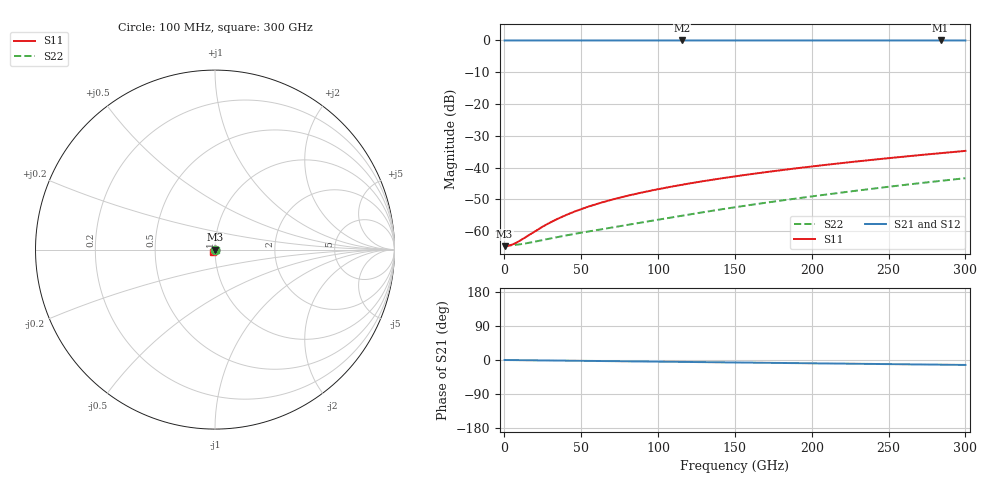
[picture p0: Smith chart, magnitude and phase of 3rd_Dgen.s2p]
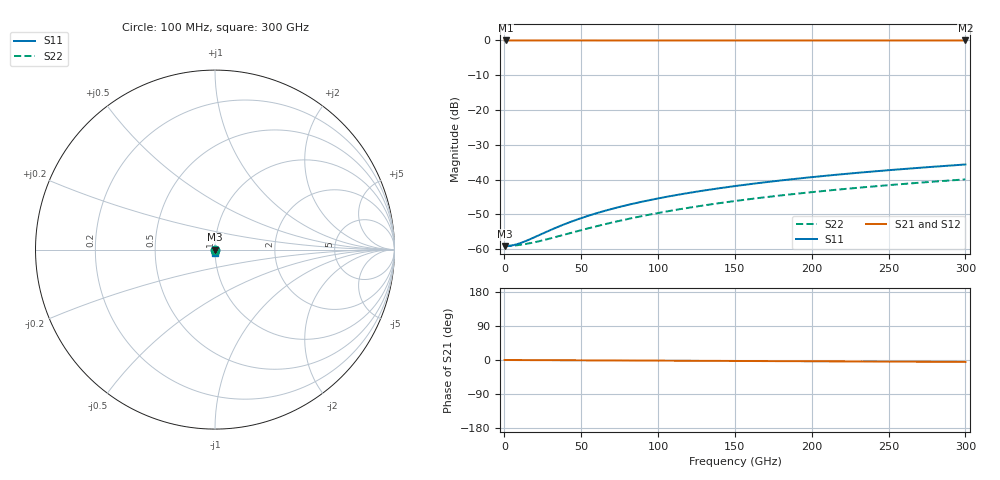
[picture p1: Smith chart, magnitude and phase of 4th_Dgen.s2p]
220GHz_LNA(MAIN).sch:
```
<Qucs Schematic 25.1.2>
<Properties>
  <View=94,-785,3069,888,0.533493,0,1>
  <Grid=10,10,1>
  <DataSet=220GHz_LNA(MAIN).dat>
  <DataDisplay=220GHz_LNA(MAIN).dpl>
  <OpenDisplay=0>
  <Script=Bandwidth extension.m>
  <RunScript=0>
  <showFrame=0>
  <FrameText0=Title>
  <FrameText1=Drawn By:>
  <FrameText2=Date:>
  <FrameText3=Revision:>
</Properties>
<Symbol>
</Symbol>
<Components>
  <GND * 1 2260 180 0 0 0 0>
  <GND * 1 2290 -300 0 0 0 0>
  <GND * 1 2290 140 0 0 0 0>
  <Lib npn13G8 1 2260 -80 10 64 0 0 "C:/Users/nsl/QucsWorkspace/user_lib/IHP_PDK_nonlinear_components" 0 "npn13G2" 0 "2" 1>
  <Lib rsil8 1 2260 -230 50 -26 0 0 "C:/Users/nsl/QucsWorkspace/user_lib/IHP_PDK_basic_components" 0 "rsil" 0 "7.5u" 1 "5.5u" 1 "1" 1>
  <GND * 1 2360 -290 0 0 0 0>
  <Vdc V7 1 2360 -350 18 -26 0 1 "1.35V" 1>
  <GND * 1 2050 -260 0 0 0 0>
  <Vdc V8 1 2050 -290 18 -26 0 1 "0.93V" 1>
  <GND * 1 2100 -30 0 0 0 0>
  <Lib cap_rfcmim15 1 2030 -90 -16 -98 0 1 "C:/Users/nsl/QucsWorkspace/user_lib/IHP_PDK_basic_components" 0 "cap_rfcmim" 0 "5.1u" 1 "2.4u" 1>
  <GND * 1 2430 -100 0 0 0 0>
  <Lib cap_rfcmim16 1 2390 -150 -16 -98 0 1 "C:/Users/nsl/QucsWorkspace/user_lib/IHP_PDK_basic_components" 0 "cap_rfcmim" 0 "32u" 1 "6.2u" 1>
  <GND * 1 2440 60 0 0 0 0>
  <GND * 1 2470 110 0 0 0 0>
  <GND * 1 2560 -100 0 0 0 0>
  <Lib cap_rfcmim17 1 2510 -150 -16 -98 0 1 "C:/Users/nsl/QucsWorkspace/user_lib/IHP_PDK_basic_components" 0 "cap_rfcmim" 0 "3.2u" 1 "2.4u" 1>
  <GND * 1 2660 100 0 0 0 0>
  <Pac P2 1 2660 30 18 -26 0 1 "2" 1 "50 Ohm" 1 "0 dBm" 0 "1 MHz" 0 "26.85" 0 "true" 0>
  <GND * 1 1790 240 0 0 0 0>
  <GND * 1 1820 -220 0 0 0 0>
  <GND * 1 1820 200 0 0 0 0>
  <Lib npn13G7 1 1790 -20 10 64 0 0 "C:/Users/nsl/QucsWorkspace/user_lib/IHP_PDK_nonlinear_components" 0 "npn13G2" 0 "2" 1>
  <Lib rsil7 1 1790 -150 50 -26 0 0 "C:/Users/nsl/QucsWorkspace/user_lib/IHP_PDK_basic_components" 0 "rsil" 0 "7.5u" 1 "5u" 1 "1" 1>
  <GND * 1 1890 -240 0 0 0 0>
  <Vdc V5 1 1890 -300 18 -26 0 1 "1.35V" 1>
  <GND * 1 1610 -150 0 0 0 0>
  <Vdc V6 1 1610 -180 18 -26 0 1 "0.9V" 1>
  <GND * 1 1620 30 0 0 0 0>
  <Lib cap_rfcmim13 1 1550 -30 -16 -98 0 1 "C:/Users/nsl/QucsWorkspace/user_lib/IHP_PDK_basic_components" 0 "cap_rfcmim" 0 "7.6u" 1 "2.5u" 1>
  <GND * 1 1950 -40 0 0 0 0>
  <Lib cap_rfcmim14 1 1910 -90 -16 -98 0 1 "C:/Users/nsl/QucsWorkspace/user_lib/IHP_PDK_basic_components" 0 "cap_rfcmim" 0 "32u" 1 "12.5u" 1>
  <GND * 1 1990 130 0 0 0 0>
  <GND * 1 1960 90 0 0 0 0>
  <GND * 1 1270 300 0 0 0 0>
  <GND * 1 1300 -190 0 0 0 0>
  <GND * 1 1300 260 0 0 0 0>
  <Lib npn13G6 1 1270 40 10 64 0 0 "C:/Users/nsl/QucsWorkspace/user_lib/IHP_PDK_nonlinear_components" 0 "npn13G2" 0 "4" 1>
  <Lib rsil6 1 1270 -120 50 -26 0 0 "C:/Users/nsl/QucsWorkspace/user_lib/IHP_PDK_basic_components" 0 "rsil" 0 "7.5u" 1 "5u" 1 "1" 1>
  <GND * 1 1350 -170 0 0 0 0>
  <Vdc V3 1 1350 -230 18 -26 0 1 "1.35V" 1>
  <GND * 1 1130 90 0 0 0 0>
  <Lib cap_rfcmim11 1 1060 30 -16 -98 0 1 "C:/Users/nsl/QucsWorkspace/user_lib/IHP_PDK_basic_components" 0 "cap_rfcmim" 0 "5.2u" 1 "2.4u" 1>
  <GND * 1 1440 20 0 0 0 0>
  <Lib cap_rfcmim12 1 1400 -30 -16 -98 0 1 "C:/Users/nsl/QucsWorkspace/user_lib/IHP_PDK_basic_components" 0 "cap_rfcmim" 0 "32u" 1 "3.72u" 1>
  <GND * 1 1480 170 0 0 0 0>
  <GND * 1 1450 110 0 0 0 0>
  <GND * 1 940 80 0 0 0 0>
  <GND * 1 750 360 0 0 0 0>
  <GND * 1 780 -140 0 0 0 0>
  <Lib npn13G5 1 750 100 10 64 0 0 "C:/Users/nsl/QucsWorkspace/user_lib/IHP_PDK_nonlinear_components" 0 "npn13G2" 0 "4" 1>
  <Lib cap_rfcmim10 1 900 30 -16 -98 0 1 "C:/Users/nsl/QucsWorkspace/user_lib/IHP_PDK_basic_components" 0 "cap_rfcmim" 0 "32u" 1 "3.72u" 1>
  <Lib rsil5 1 750 -40 50 -26 0 0 "C:/Users/nsl/QucsWorkspace/user_lib/IHP_PDK_basic_components" 0 "rsil" 0 "7.5u" 1 "5u" 1 "1" 1>
  <GND * 1 830 -120 0 0 0 0>
  <Vdc V1 1 830 -180 18 -26 0 1 "1.35V" 1>
  <GND * 1 720 330 0 0 0 0>
  <GND * 1 440 250 0 0 0 0>
  <Pac P1 1 440 200 18 -26 0 1 "1" 1 "50 Ohm" 1 "0 dBm" 0 "1 MHz" 0 "26.85" 0 "true" 0>
  <GND * 1 550 150 0 0 0 0>
  <Lib cap_rfcmim9 1 520 90 -16 -98 0 1 "C:/Users/nsl/QucsWorkspace/user_lib/IHP_PDK_basic_components" 0 "cap_rfcmim" 0 "10u" 1 "15u" 1>
  <GND * 1 990 200 0 0 0 0>
  <GND * 1 960 160 0 0 0 0>
  <.DC DC1 1 480 610 0 40 0 0 "26.85" 0 "0.001" 0 "1 pA" 0 "1 uV" 0 "no" 0 "150" 0 "no" 0 "none" 0 "CroutLU" 0>
  <GND * 1 540 -280 0 0 0 2>
  <Lib cap_cmim8 1 540 -260 -84 -27 0 2 "C:/Users/nsl/QucsWorkspace/user_lib/IHP_PDK_basic_components" 0 "cap_cmim" 0 "25u" 1 "20u" 1>
  <GND * 1 540 -100 0 0 0 0>
  <Vdc V2 1 540 -130 18 -26 0 1 "0.9V" 1>
  <Lib cap_cmim9 1 650 -260 -84 -27 0 2 "C:/Users/nsl/QucsWorkspace/user_lib/IHP_PDK_basic_components" 0 "cap_cmim" 0 "25u" 1 "20u" 1>
  <GND * 1 650 -280 0 0 0 2>
  <Lib cap_cmim11 1 920 -210 -38 -90 0 1 "C:/Users/nsl/QucsWorkspace/user_lib/IHP_PDK_basic_components" 0 "cap_cmim" 0 "25u" 1 "20u" 1>
  <Lib cap_cmim10 1 910 -300 -38 -90 0 1 "C:/Users/nsl/QucsWorkspace/user_lib/IHP_PDK_basic_components" 0 "cap_cmim" 0 "25u" 1 "20u" 1>
  <GND * 1 930 -300 0 0 0 1>
  <GND * 1 950 -210 0 0 0 1>
  <GND * 1 1100 -370 0 0 0 2>
  <Lib cap_cmim12 1 1100 -350 -84 -27 0 2 "C:/Users/nsl/QucsWorkspace/user_lib/IHP_PDK_basic_components" 0 "cap_cmim" 0 "25u" 1 "20u" 1>
  <Lib cap_cmim13 1 1210 -350 -84 -27 0 2 "C:/Users/nsl/QucsWorkspace/user_lib/IHP_PDK_basic_components" 0 "cap_cmim" 0 "25u" 1 "20u" 1>
  <GND * 1 1210 -370 0 0 0 2>
  <GND * 1 1100 -160 0 0 0 0>
  <Vdc V4 1 1100 -190 18 -26 0 1 "0.9V" 1>
  <Lib cap_cmim14 1 1440 -260 -38 -90 0 1 "C:/Users/nsl/QucsWorkspace/user_lib/IHP_PDK_basic_components" 0 "cap_cmim" 0 "25u" 1 "20u" 1>
  <Lib cap_cmim15 1 1430 -350 -38 -90 0 1 "C:/Users/nsl/QucsWorkspace/user_lib/IHP_PDK_basic_components" 0 "cap_cmim" 0 "25u" 1 "20u" 1>
  <GND * 1 1450 -350 0 0 0 1>
  <GND * 1 1470 -260 0 0 0 1>
  <GND * 1 1610 -380 0 0 0 2>
  <Lib cap_cmim16 1 1610 -360 -84 -27 0 2 "C:/Users/nsl/QucsWorkspace/user_lib/IHP_PDK_basic_components" 0 "cap_cmim" 0 "25u" 1 "20u" 1>
  <Lib cap_cmim17 1 1720 -360 -84 -27 0 2 "C:/Users/nsl/QucsWorkspace/user_lib/IHP_PDK_basic_components" 0 "cap_cmim" 0 "25u" 1 "20u" 1>
  <GND * 1 1720 -380 0 0 0 2>
  <Lib cap_cmim18 1 1980 -330 -38 -90 0 1 "C:/Users/nsl/QucsWorkspace/user_lib/IHP_PDK_basic_components" 0 "cap_cmim" 0 "25u" 1 "20u" 1>
  <Lib cap_cmim19 1 1970 -420 -38 -90 0 1 "C:/Users/nsl/QucsWorkspace/user_lib/IHP_PDK_basic_components" 0 "cap_cmim" 0 "25u" 1 "20u" 1>
  <GND * 1 1990 -420 0 0 0 1>
  <GND * 1 2010 -330 0 0 0 1>
  <GND * 1 2060 -470 0 0 0 2>
  <Lib cap_cmim20 1 2060 -450 -84 -27 0 2 "C:/Users/nsl/QucsWorkspace/user_lib/IHP_PDK_basic_components" 0 "cap_cmim" 0 "25u" 1 "20u" 1>
  <Lib cap_cmim21 1 2170 -450 -84 -27 0 2 "C:/Users/nsl/QucsWorkspace/user_lib/IHP_PDK_basic_components" 0 "cap_cmim" 0 "25u" 1 "20u" 1>
  <GND * 1 2170 -470 0 0 0 2>
  <Lib cap_cmim22 1 2450 -380 -38 -90 0 1 "C:/Users/nsl/QucsWorkspace/user_lib/IHP_PDK_basic_components" 0 "cap_cmim" 0 "25u" 1 "20u" 1>
  <Lib cap_cmim23 1 2440 -470 -38 -90 0 1 "C:/Users/nsl/QucsWorkspace/user_lib/IHP_PDK_basic_components" 0 "cap_cmim" 0 "25u" 1 "20u" 1>
  <GND * 1 2460 -470 0 0 0 1>
  <GND * 1 2480 -380 0 0 0 1>
  <INCLSCR INCLSCR2 1 620 -730 -60 16 0 0 ".LIB C:\Users\nsl\QucsWorkspace\IHP-Open-PDK\ihp-sg13g2\libs.tech\ngspice\models\cornerHBT.lib hbt_typ\n.LIB C:\Users\nsl\QucsWorkspace\IHP-Open-PDK\ihp-sg13g2\libs.tech\ngspice\models\cornerRES.lib res_typ\n.LIB C:\Users\nsl\QucsWorkspace\IHP-Open-PDK\ihp-sg13g2\libs.tech\ngspice\models\cornerCAP.lib cap_typ\n.control\npre_osdi C:\Users\nsl\QucsWorkspace\IHP-Open-PDK\ihp-sg13g2\libs.tech\verilog-a\r3_cmc\r3_cmc.osdi\n.endc" 1 "" 0 "" 0>
  <.SP SP1 1 770 600 0 68 0 0 "lin" 1 "140 GHz" 1 "190 GHz" 1 "101" 1 "yes" 0 "1" 0 "2" 0 "no" 0 "no" 0>
  <NutmegEq NutmegEq3 1 1050 610 -31 16 0 0 "SP1" 1 "num=(1/4)*(abs(v(y_2_1)-v(y_1_2))*abs(v(y_2_1)-v(y_1_2)))" 1 "den=real(v(y_1_1))*real(v(y_2_2))-real(v(y_2_1))*real(v(y_1_2))" 1 "Gmax=num/den" 1 "Fmax=sqrt(mag(Gmax))*frequency" 1>
  <NutmegEq NutmegEq2 1 1410 590 -31 16 0 0 "SP1" 1 "s11_db=db(v(s_1_1))" 1 "s12_db=db(v(s_1_2))" 1 "s21_db=db(v(s_2_1))" 1 "s22_db=db(v(s_2_2))" 1 "s11_mag=mag(v(s_1_1))" 1 "s11_conj=conj(v(s_1_1))" 1 "s12_mag=mag(v(s_1_2))" 1 "s21_mag=mag(v(s_2_1))" 1 "s22_mag=mag(v(s_2_2))" 1 "delta=v(s_1_1)*v(s_2_2)-v(s_1_2)*v(s_2_2)" 1 "delta_mag=mag(delta)" 1 "kf=(1-s11_mag*s11_mag-s22_mag*s22_mag+delta_mag*delta_mag)/(2*s12_mag*s21_mag)" 1 "mu=(1-s11_mag*s11_mag)/(mag(v(s_2_2)-delta*s11_conj)+s12_mag*s21_mag)" 1>
  <Lib rhigh9 1 670 -10 -88 -26 0 2 "C:/Users/nsl/QucsWorkspace/user_lib/IHP_PDK_basic_components" 0 "rhigh" 0 "1.9u" 1 "7u" 1 "1" 1>
  <Lib rhigh10 1 1220 -30 -88 -26 0 2 "C:/Users/nsl/QucsWorkspace/user_lib/IHP_PDK_basic_components" 0 "rhigh" 0 "1.9u" 1 "5.5u" 1 "1" 1>
  <Lib rhigh11 1 1720 -90 -88 -26 0 2 "C:/Users/nsl/QucsWorkspace/user_lib/IHP_PDK_basic_components" 0 "rhigh" 0 "1.9u" 1 "5.5u" 1 "1" 1>
  <Lib rhigh12 1 2180 -190 -79 -26 0 2 "C:/Users/nsl/QucsWorkspace/user_lib/IHP_PDK_basic_components" 0 "rhigh" 0 "2u" 1 "5.5u" 1 "1" 1>
  <SPfile X1 1 750 -170 -165 -26 0 1 "C:/220_S2P_files/Choke.s2p" 1 "rectangular" 0 "linear" 0 "open" 0 "2" 0>
  <SPfile X2 1 1270 -220 -165 -26 0 1 "C:/220_S2P_files/Choke.s2p" 1 "rectangular" 0 "linear" 0 "open" 0 "2" 0>
  <SPfile X3 1 1790 -250 -165 -26 0 1 "C:/220_S2P_files/Choke.s2p" 1 "rectangular" 0 "linear" 0 "open" 0 "2" 0>
  <SPfile X4 1 2260 -330 -165 -26 0 1 "C:/220_S2P_files/Choke.s2p" 1 "rectangular" 0 "linear" 0 "open" 0 "2" 0>
  <SPfile X14 1 750 310 21 -26 0 3 "C:/220_S2P_files/1st_Dgen.s2p" 1 "rectangular" 0 "linear" 0 "open" 0 "2" 0>
  <SPfile X10 1 1270 250 -158 -26 0 1 "C:/220_S2P_files/2nd_Dgen.s2p" 1 "rectangular" 0 "linear" 0 "open" 0 "2" 0>
  <SPfile X11 1 1790 190 -158 -26 0 1 "C:/220_S2P_files/3rd_Dgen.s2p" 1 "rectangular" 0 "linear" 0 "open" 0 "2" 0>
  <SPfile X12 1 2260 130 -219 -26 0 1 "C:/220_S2P_files/4th_Dgen.s2p" 1 "rectangular" 0 "linear" 0 "open" 0 "2" 0>
  <SPfile X15 1 990 140 22 -26 0 3 "C:/220_S2P_files/TL_stage1.s2p" 1 "rectangular" 0 "linear" 0 "open" 0 "2" 0>
  <SPfile X16 1 1480 90 22 -26 0 3 "C:/220_S2P_files/TL_stage2.s2p" 1 "rectangular" 0 "linear" 0 "open" 0 "2" 0>
  <SPfile X17 1 1990 60 22 -26 0 3 "C:/220_S2P_files/TL_stage3.s2p" 1 "rectangular" 0 "linear" 0 "open" 0 "2" 0>
  <SPfile X18 1 2470 20 22 -26 0 3 "C:/220_S2P_files/TL_stage4.s2p" 1 "rectangular" 0 "linear" 0 "open" 0 "2" 0>
</Components>
<Wires>
  <2270 -80 2340 -80 "" 0 0 0 "">
  <2340 -80 2340 180 "" 0 0 0 "">
  <2260 180 2340 180 "" 0 0 0 "">
  <2260 160 2260 180 "" 0 0 0 "">
  <2260 -30 2260 100 "" 0 0 0 "">
  <2260 -190 2260 -140 "" 0 0 0 "">
  <2290 -330 2290 -300 "" 0 0 0 "">
  <2260 -300 2260 -270 "" 0 0 0 "">
  <2290 130 2290 140 "" 0 0 0 "">
  <2360 -320 2360 -290 "" 0 0 0 "">
  <2180 -80 2230 -80 "" 0 0 0 "">
  <2180 -150 2180 -80 "" 0 0 0 "">
  <2050 -80 2180 -80 "" 0 0 0 "">
  <2100 -50 2100 -30 "" 0 0 0 "">
  <2050 -50 2100 -50 "" 0 0 0 "">
  <2410 -140 2470 -140 "" 0 0 0 "">
  <2260 -140 2260 -130 "" 0 0 0 "">
  <2260 -140 2380 -140 "" 0 0 0 "">
  <2430 -110 2430 -100 "" 0 0 0 "">
  <2410 -110 2430 -110 "" 0 0 0 "">
  <2470 -140 2470 -10 "" 0 0 0 "">
  <2440 20 2440 60 "" 0 0 0 "">
  <2470 50 2470 110 "" 0 0 0 "">
  <2470 -140 2500 -140 "" 0 0 0 "">
  <2530 -110 2560 -110 "" 0 0 0 "">
  <2560 -110 2560 -100 "" 0 0 0 "">
  <2530 -140 2660 -140 "" 0 0 0 "">
  <2660 60 2660 100 "" 0 0 0 "">
  <2660 -140 2660 0 "" 0 0 0 "">
  <1800 -20 1870 -20 "" 0 0 0 "">
  <1870 -20 1870 240 "" 0 0 0 "">
  <1790 240 1870 240 "" 0 0 0 "">
  <1790 220 1790 240 "" 0 0 0 "">
  <1790 30 1790 160 "" 0 0 0 "">
  <1820 -250 1820 -220 "" 0 0 0 "">
  <1790 -220 1790 -190 "" 0 0 0 "">
  <1820 190 1820 200 "" 0 0 0 "">
  <1890 -270 1890 -240 "" 0 0 0 "">
  <1720 -20 1760 -20 "" 0 0 0 "">
  <1720 -50 1720 -20 "" 0 0 0 "">
  <1570 -20 1720 -20 "" 0 0 0 "">
  <1620 10 1620 30 "" 0 0 0 "">
  <1570 10 1620 10 "" 0 0 0 "">
  <1790 -110 1790 -80 "" 0 0 0 "">
  <1790 -80 1790 -70 "" 0 0 0 "">
  <1790 -80 1900 -80 "" 0 0 0 "">
  <1950 -50 1950 -40 "" 0 0 0 "">
  <1930 -50 1950 -50 "" 0 0 0 "">
  <1930 -80 1990 -80 "" 0 0 0 "">
  <1990 -80 2020 -80 "" 0 0 0 "">
  <1990 -80 1990 30 "" 0 0 0 "">
  <1990 90 1990 130 "" 0 0 0 "">
  <1960 60 1960 90 "" 0 0 0 "">
  <1280 40 1350 40 "" 0 0 0 "">
  <1350 40 1350 300 "" 0 0 0 "">
  <1270 300 1350 300 "" 0 0 0 "">
  <1270 280 1270 300 "" 0 0 0 "">
  <1270 90 1270 220 "" 0 0 0 "">
  <1300 -220 1300 -190 "" 0 0 0 "">
  <1300 250 1300 260 "" 0 0 0 "">
  <1270 -190 1270 -160 "" 0 0 0 "">
  <1350 -200 1350 -170 "" 0 0 0 "">
  <1220 40 1240 40 "" 0 0 0 "">
  <1220 10 1220 40 "" 0 0 0 "">
  <1080 40 1220 40 "" 0 0 0 "">
  <1130 70 1130 90 "" 0 0 0 "">
  <1080 70 1130 70 "" 0 0 0 "">
  <1270 -80 1270 -20 "" 0 0 0 "">
  <1270 -20 1270 -10 "" 0 0 0 "">
  <1270 -20 1390 -20 "" 0 0 0 "">
  <1440 10 1440 20 "" 0 0 0 "">
  <1420 10 1440 10 "" 0 0 0 "">
  <1420 -20 1480 -20 "" 0 0 0 "">
  <1480 -20 1540 -20 "" 0 0 0 "">
  <1480 -20 1480 60 "" 0 0 0 "">
  <1480 120 1480 170 "" 0 0 0 "">
  <1450 90 1450 110 "" 0 0 0 "">
  <760 100 830 100 "" 0 0 0 "">
  <750 40 750 50 "" 0 0 0 "">
  <830 100 830 360 "" 0 0 0 "">
  <750 360 830 360 "" 0 0 0 "">
  <940 70 940 80 "" 0 0 0 "">
  <920 70 940 70 "" 0 0 0 "">
  <750 40 890 40 "" 0 0 0 "">
  <750 150 750 280 "" 0 0 0 "">
  <750 340 750 360 "" 0 0 0 "">
  <750 0 750 40 "" 0 0 0 "">
  <750 -140 750 -80 "" 0 0 0 "">
  <780 -170 780 -140 "" 0 0 0 "">
  <750 -300 750 -200 "" 0 0 0 "">
  <750 -300 830 -300 "" 0 0 0 "">
  <830 -150 830 -120 "" 0 0 0 "">
  <830 -300 830 -210 "" 0 0 0 "">
  <720 310 720 330 "" 0 0 0 "">
  <670 100 720 100 "" 0 0 0 "">
  <670 30 670 100 "" 0 0 0 "">
  <440 230 440 250 "" 0 0 0 "">
  <540 100 670 100 "" 0 0 0 "">
  <440 100 440 170 "" 0 0 0 "">
  <440 100 510 100 "" 0 0 0 "">
  <550 130 550 150 "" 0 0 0 "">
  <540 130 550 130 "" 0 0 0 "">
  <920 40 990 40 "" 0 0 0 "">
  <990 40 1050 40 "" 0 0 0 "">
  <990 40 990 110 "" 0 0 0 "">
  <990 170 990 200 "" 0 0 0 "">
  <960 140 960 160 "" 0 0 0 "">
  <670 -240 670 -50 "" 0 0 0 "">
  <540 -240 650 -240 "" 0 0 0 "">
  <540 -240 540 -160 "" 0 0 0 "">
  <650 -240 670 -240 "" 0 0 0 "">
  <830 -210 900 -210 "" 0 0 0 "">
  <830 -300 890 -300 "" 0 0 0 "">
  <940 -210 950 -210 "" 0 0 0 "">
  <1220 -330 1220 -70 "" 0 0 0 "">
  <1100 -330 1210 -330 "" 0 0 0 "">
  <1100 -330 1100 -220 "" 0 0 0 "">
  <1210 -330 1220 -330 "" 0 0 0 "">
  <1350 -350 1350 -260 "" 0 0 0 "">
  <1350 -260 1420 -260 "" 0 0 0 "">
  <1350 -350 1410 -350 "" 0 0 0 "">
  <1460 -260 1470 -260 "" 0 0 0 "">
  <1270 -350 1270 -250 "" 0 0 0 "">
  <1270 -350 1350 -350 "" 0 0 0 "">
  <1720 -340 1720 -130 "" 0 0 0 "">
  <1610 -340 1610 -210 "" 0 0 0 "">
  <1610 -340 1720 -340 "" 0 0 0 "">
  <1890 -420 1890 -330 "" 0 0 0 "">
  <1890 -330 1960 -330 "" 0 0 0 "">
  <1890 -420 1950 -420 "" 0 0 0 "">
  <2000 -330 2010 -330 "" 0 0 0 "">
  <1790 -420 1790 -280 "" 0 0 0 "">
  <1790 -420 1890 -420 "" 0 0 0 "">
  <2180 -430 2180 -230 "" 0 0 0 "">
  <2050 -430 2050 -320 "" 0 0 0 "">
  <2050 -430 2060 -430 "" 0 0 0 "">
  <2060 -430 2170 -430 "" 0 0 0 "">
  <2170 -430 2180 -430 "" 0 0 0 "">
  <2360 -380 2430 -380 "" 0 0 0 "">
  <2360 -470 2360 -380 "" 0 0 0 "">
  <2360 -470 2420 -470 "" 0 0 0 "">
  <2470 -380 2480 -380 "" 0 0 0 "">
  <2260 -470 2260 -360 "" 0 0 0 "">
  <2260 -470 2360 -470 "" 0 0 0 "">
</Wires>
<Diagrams>
</Diagrams>
<Paintings>
</Paintings>
```
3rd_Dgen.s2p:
#  Hz  S  RI  R  50
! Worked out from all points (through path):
!   3000 points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, 100 MHz to 300 GHz, reference 50 ohm
!   highest |S21| = 0.00 dB at 283.8 GHz (marker M1); lowest = 0.0 dB at 115.5 GHz (marker M2)
!   group delay of S21, straight-line fit = 120 fs
!   lowest |S11| = -64.7 dB at 100 MHz (marker M3), VSWR 1.00, Z = 50.1 - j0.000395 ohm
!   |S11| at or under -10 dB: start of sweep to end of sweep
!   |S22| runs from -64.5 to -43.4 dB; largest |S21 - S12| = 0.016
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1e8  0.000579 -3.95e-06  0.9994 -7.63e-05  0.9994 -7.11e-05  0.000593 8.12e-07
6.8e9  0.00058 -0.00027  0.9994 -0.00519  0.9994 -0.00483  0.000603 5.43e-05
3.1e10  0.000545 -0.0013  0.9991 -0.0235  0.9991 -0.0219  0.000751 0.000187
4.1e10  0.000475 -0.00176  0.9988 -0.031  0.9988 -0.0288  0.000837 0.000208
5.19e10  0.000351 -0.00228  0.9985 -0.0392  0.9985 -0.0364  0.000935 0.000218
7.93e10  -0.000159 -0.00355  0.9974 -0.0598  0.9975 -0.0556  0.00122 0.000208
1.155e11  -0.00121 -0.00522  0.9954 -0.0871  0.9956 -0.0809  0.00174 0.000122
1.501e11  -0.00261 -0.00678  0.9928 -0.113  0.9931 -0.105  0.00237 -6.07e-05
2.112e11  -0.00608 -0.00936  0.9866 -0.1589  0.9872 -0.1476  0.00375 -0.000659
2.838e11  -0.0118 -0.012  0.9765 -0.2132  0.9776 -0.198  0.00584 -0.00199
3e11  -0.0133 -0.0126  0.9738 -0.2253  0.9751 -0.2093  0.00636 -0.00239
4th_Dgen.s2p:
#  Hz  S  RI  R  50
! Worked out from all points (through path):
!   3000 points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, 100 MHz to 300 GHz, reference 50 ohm
!   highest |S21| = -0.01 dB at 800 MHz (marker M1); lowest = 0.0 dB at 300 GHz (marker M2)
!   lowest |S11| = -59.1 dB at 100 MHz (marker M3), VSWR 1.00, Z = 50.1 - j0.000497 ohm
!   |S11| at or under -10 dB: start of sweep to end of sweep
!   |S22| runs from -59.1 to -39.9 dB; largest |S21 - S12| = 4.3e-05
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1e8  0.0011 -4.96e-06  0.9989 -2.99e-05  0.9988 -2.97e-05  0.00111 -2.71e-06
8e8  0.0011 -3.96e-05  0.9989 -0.000239  0.9988 -0.000238  0.00111 -2.17e-05
8.8e9  0.00111 -0.000437  0.9989 -0.00263  0.9988 -0.00262  0.00112 -0.000239
1.99e10  0.00112 -0.000994  0.9988 -0.00594  0.9988 -0.00592  0.00114 -0.000544
4.5e10  0.00113 -0.0023  0.9987 -0.0134  0.9987 -0.0134  0.00122 -0.00126
7.1e10  0.00109 -0.00369  0.9985 -0.021  0.9985 -0.021  0.00132 -0.00205
8.77e10  0.00103 -0.0046  0.9983 -0.0259  0.9983 -0.0259  0.00139 -0.00258
1.064e11  0.000933 -0.00563  0.9981 -0.0314  0.9981 -0.0314  0.00147 -0.00319
1.501e11  0.000573 -0.00806  0.9975 -0.0442  0.9975 -0.0442  0.00164 -0.00464
2.17e11  -0.000353 -0.0118  0.9963 -0.0637  0.9963 -0.0637  0.00189 -0.00693
3e11  -0.00206 -0.0164  0.9943 -0.0879  0.9944 -0.0879  0.00219 -0.00983
